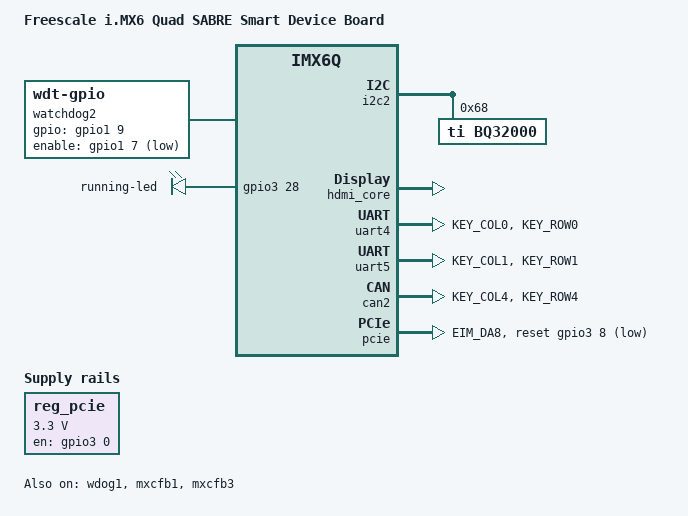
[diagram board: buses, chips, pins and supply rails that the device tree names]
/*
 * Copyright (C) 2015 Freescale Semiconductor, Inc.
 *
 * This program is free software; you can redistribute it and/or modify
 * it under the terms of the GNU General Public License version 2 as
 * published by the Free Software Foundation.
 */

#include "imx6q-sabresd.dts"

/ {
	model = "Freescale i.MX6 Quad SABRE Smart Device Board";
	compatible = "fsl,imx6q-sabresd", "fsl,imx6q";

	regulators {
		reg_mipi_dsi_pwr_on: mipi_dsi_pwr_on {
			/delete-property/ gpio;
		};

		reg_pcie: regulator@3 {
			compatible = "regulator-fixed";
			reg = <3>;
			pinctrl-names = "default";
			pinctrl-0 = <&pinctrl_pcie_reg_2>;
			regulator-name = "MPCIE_3V3";
			regulator-min-microvolt = <3300000>;
			regulator-max-microvolt = <3300000>;
			gpio = <&gpio3 0 0>;
			regulator-always-on;
			enable-active-high;
		};
	};

	/delete-node/ gpio-keys;

	watchdog2: watchdog {
		compatible = "linux,wdt-gpio";
		gpios = <&gpio1 9 GPIO_ACTIVE_HIGH>;
		enable-gpio = <&gpio1 7 GPIO_ACTIVE_LOW>;
                pinctrl-names = "default";
                pinctrl-0 = <&pinctrl_wdt2_1>;
		hw_algo = "toggle";
		hw_margin_ms = <1000>;
	};

	leds {
		compatible = "gpio-leds";

		running-led {
			gpios = <&gpio3 28 0>;
			linux,default-trigger = "system-running-led";
			retain-state-suspended;
		};

		/delete-node/ charger-led;
	};
};

&gpc {
	/* use ldo-enable, u-boot will check it and configure */
	fsl,ldo-bypass = <0>;
};

&reg_arm {
	/delete-property/ vin-supply;
};

&reg_pu {
	/delete-property/ vin-supply;
};

&reg_soc {
	/delete-property/ vin-supply;
};

&i2c1 {
	/delete-node/ mma8451;
	/delete-node/ ov564x;
};

&i2c2 {
	/delete-node/ egalax_ts;
	/delete-node/ max11801;
	/delete-node/ ov564x_mipi;

	bq32000: rtc@68 {
		compatible = "ti,bq32000";
		reg = <0x68>;
	};
};

&wdog1 {
	status = "okay";
};

&wdog2 {
	status = "disabled";
};

&ldb {
	status = "disabled";
};

&hdmi_core {
	ipu_id = <0>;
	disp_id = <1>;
	status = "okay";
};

&mxcfb1 {
	compatible = "fsl,mxc_sdc_fb";
	disp_dev = "hdmi";
	interface_pix_fmt = "RGB24";
	mode_str ="1920x1080M@60";
	default_bpp = <24>;
	int_clk = <0>;
	late_init = <0>;
	status = "okay";
};

&mxcfb2 {
	status = "disabled";
};

&mxcfb3 {
	compatible = "fsl,mxc_sdc_fb";
	disp_dev = "lcd";
	interface_pix_fmt = "RGB24";
	mode_str ="XGA";
	default_bpp = <24>;
	int_clk = <0>;
	late_init = <0>;
	status = "okay";
};

&dcic1 {
	status = "disabled";
};

&dcic2 {
	status = "disabled";
};

&iomuxc {
	pinctrl-names = "default";
	pinctrl-0 = <&pinctrl_hog2>;

	imx6qdl-sabresd {
		pinctrl_hog2: hoggrp-2 {
			fsl,pins = <
				MX6QDL_PAD_GPIO_2__GPIO1_IO02 0x80000000
				MX6QDL_PAD_ENET_TXD0__GPIO1_IO30 0x80000000
				MX6QDL_PAD_NANDF_RB0__GPIO6_IO10 0x80000000
				MX6QDL_PAD_EIM_DA10__GPIO3_IO10 0x80000000
				MX6QDL_PAD_GPIO_8__GPIO1_IO08 0x80000000
				MX6QDL_PAD_GPIO_4__GPIO1_IO04 0x80000000
				MX6QDL_PAD_GPIO_5__GPIO1_IO05 0x80000000
				MX6QDL_PAD_EIM_D30__GPIO3_IO30 0x80000000
				MX6QDL_PAD_EIM_D28__GPIO3_IO28 0x80000000
				MX6QDL_PAD_EIM_EB0__GPIO2_IO28 0x80000000
				MX6QDL_PAD_ENET_TXD1__GPIO1_IO29 0x80000000
				MX6QDL_PAD_CSI0_DATA_EN__GPIO5_IO20 0x1b0b0
			>;
		};

                pinctrl_wdt2_1: wdt2_grp {
                        fsl,pins = <
				MX6QDL_PAD_GPIO_7__GPIO1_IO07   0x80000000
                                MX6QDL_PAD_GPIO_9__GPIO1_IO09   0x80000000
                        >;
                };

		pinctrl_uart4_2: uart4grp-2 {
			fsl,pins = <
				MX6QDL_PAD_KEY_COL0__UART4_TX_DATA	0x1b0b1
				MX6QDL_PAD_KEY_ROW0__UART4_RX_DATA	0x1b0b1
			>;
		};

		pinctrl_uart5_2: uart5grp-2 {
			fsl,pins = <
				MX6QDL_PAD_KEY_COL1__UART5_TX_DATA	0x1b0b1
				MX6QDL_PAD_KEY_ROW1__UART5_RX_DATA	0x1b0b1
			>;
		};

		pinctrl_can2_3: can2grp-3 {
			fsl,pins = <
				MX6QDL_PAD_KEY_COL4__FLEXCAN2_TX 0x80000000
				MX6QDL_PAD_KEY_ROW4__FLEXCAN2_RX 0x80000000
			>;
		};

		pinctrl_pcie_2: pciegrp-2 {
			fsl,pins = <
				MX6QDL_PAD_EIM_DA8__GPIO3_IO08 0x1b0b0
			>;
		};

		pinctrl_pcie_reg_2: pciereggrp-2 {
			fsl,pins = <
				MX6QDL_PAD_EIM_DA0__GPIO3_IO00	0x1b0b0
			>;
		};	
	};

};

&battery {
	status = "disabled";
};

&ecspi1 {
	status = "disabled";
};

&uart4 {
	pinctrl-names = "default";
	pinctrl-0 = <&pinctrl_uart4_2>;
	status = "okay";
};

&uart5 {
	pinctrl-names = "default";
	pinctrl-0 = <&pinctrl_uart5_2>;
	status = "okay";
};

&can1 {
	status = "disabled";
};

&can2 {
        pinctrl-names = "default";
        pinctrl-0 = <&pinctrl_can2_3>;
	status = "okay";
};

&pcie {
	pinctrl-names = "default";
	pinctrl-0 = <&pinctrl_pcie_2>;
	vdd-supply = <&reg_pcie>;
	reset-gpio = <&gpio3 8 GPIO_ACTIVE_LOW>;
	status = "okay";
};


